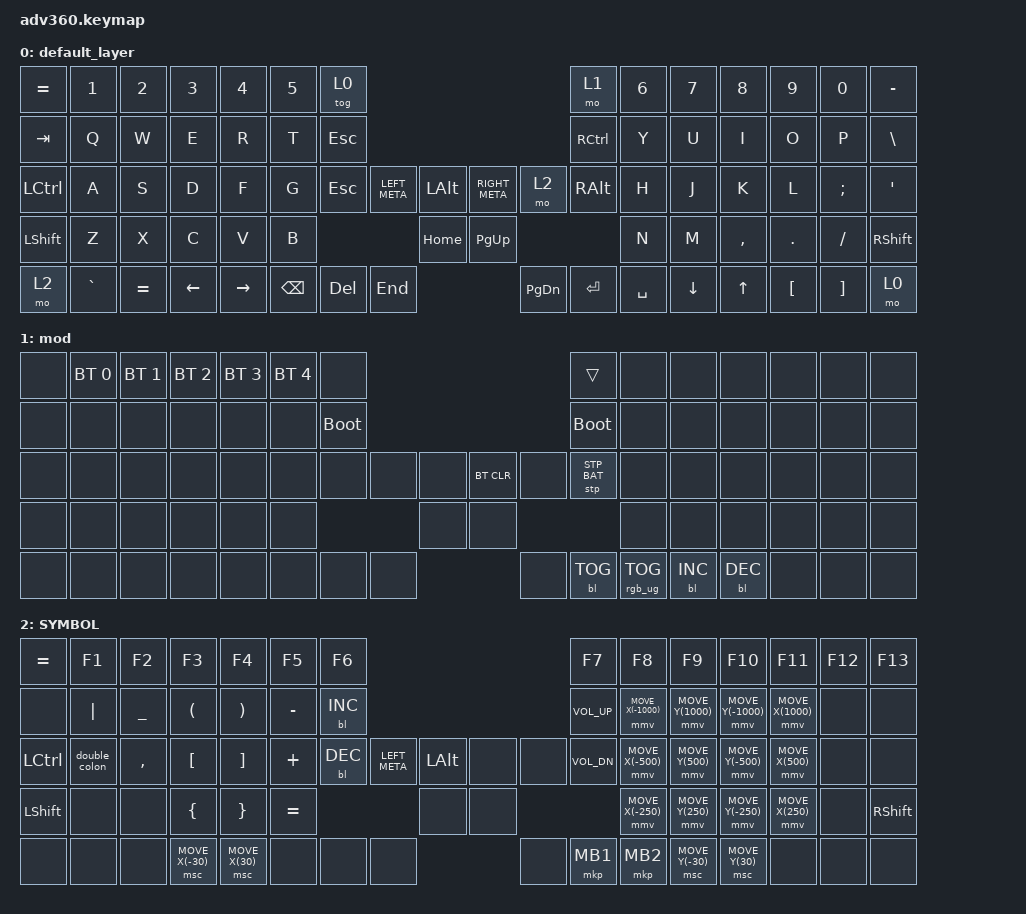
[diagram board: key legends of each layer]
#include <behaviors.dtsi>
#include <behaviors/mouse_move.dtsi>
#include <dt-bindings/zmk/backlight.h>
#include <dt-bindings/zmk/bt.h>
#include <dt-bindings/zmk/keys.h>
#include <dt-bindings/zmk/mouse.h>
#include <dt-bindings/zmk/pointing.h>
#include <dt-bindings/zmk/rgb.h>
#include <dt-bindings/zmk/stp.h>

/* Custom Device-tree */
// ==== MOUSE-KEY <section begins> ====
#define ZMK_MOUSE_DEFAULT_MOVE_VAL 500
#define ZMK_MOUSE_DEFAULT_SCRL_VAL 50

&mmv {
  acceleration-exponent = <1>;      // 1
  time-to-max-speed-ms = <0>;       // 40
  delay-ms = <0>;                   // 0
};

&msc {
  acceleration-exponent = <1>;      // 0
  time-to-max-speed-ms = <0>;       // 40
  delay-ms = <0>;                   // 10
};
// ==== MOUSE-KEY <section ends> =====

/ {
       behaviors {
        double_colon: double_colon {
            compatible = "zmk,behavior-macro";
            #binding-cells = <0>;
            wait-ms = <20>;
            tap-ms = <20>;
            bindings = <&kp COLON &kp COLON>;
        };
    };
};

/ {
    keymap {
        compatible = "zmk,keymap";

        default_layer {
            bindings = <
&kp EQUAL  &kp N1     &kp N2     &kp N3    &kp N4     &kp N5  &tog 0                                                                                 &mo 1       &kp N6  &kp N7          &kp N8        &kp N9    &kp N0    &kp MINUS
&kp TAB    &kp Q      &kp W      &kp E     &kp R      &kp T   &kp ESCAPE                                                                             &kp RCTRL   &kp Y   &kp U           &kp I         &kp O     &kp P     &kp BSLH
&kp LCTRL  &kp A      &kp S      &kp D     &kp F      &kp G   &kp ESCAPE            &kp LEFT_META  &kp LALT    &kp RIGHT_META  &mo 2                 &kp RALT    &kp H   &kp J           &kp K         &kp L     &kp SEMI  &kp SQT
&kp LSHFT  &kp Z      &kp X      &kp C     &kp V      &kp B                                        &kp HOME    &kp PG_UP                                         &kp N   &kp M           &kp COMMA     &kp DOT   &kp FSLH  &kp RSHFT
&mo 2      &kp GRAVE  &kp EQUAL  &kp LEFT  &kp RIGHT                      &kp BSPC  &kp DEL        &kp END     &kp PG_DN       &kp ENTER  &kp SPACE                      &kp DOWN_ARROW  &kp UP_ARROW  &kp LBKT  &kp RBKT  &mo 0
            >;
        };

        mod {
            bindings = <
&none  &bt BT_SEL 0  &bt BT_SEL 1  &bt BT_SEL 2  &bt BT_SEL 3  &bt BT_SEL 4  &none                                                                        &trans       &none  &none       &none       &none  &none  &none
&none  &none         &none         &none         &none         &none         &bootloader                                                                  &bootloader  &none  &none       &none       &none  &none  &none
&none  &none         &none         &none         &none         &none         &none               &none  &none    &bt BT_CLR  &none                        &stp STP_BAT &none  &none       &none       &none  &none  &none
&none  &none         &none         &none         &none         &none                                    &none    &none                                                 &none  &none       &none       &none  &none  &none
&none  &none         &none         &none         &none                                    &none  &none  &none    &none       &bl BL_TOG  &rgb_ug RGB_TOG                      &bl BL_INC  &bl BL_DEC  &none  &none  &none
            >;
        };

        SYMBOL {
            bindings = <
&kp EQUAL       &kp F1         &kp F2          &kp F3                &kp F4                 &kp F5     &kp F6                                                                   &kp F7        &kp F8              &kp F9             &kp F10             &kp F11               &kp F12  &kp F13
&none           &kp PIPE       &kp UNDERSCORE  &kp LEFT_PARENTHESIS  &kp RIGHT_PARENTHESIS  &kp MINUS  &bl BL_INC                                                               &kp C_VOL_UP  &mmv MOVE_X(-1000)  &mmv MOVE_Y(1000)  &mmv MOVE_Y(-1000)  &mmv MOVE_X(1000)     &none    &none
&kp LCTRL       &double_colon  &kp COMMA       &kp LEFT_BRACKET      &kp RIGHT_BRACKET      &kp PLUS   &bl BL_DEC         &kp LEFT_META   &kp LALT  &none   &none               &kp C_VOL_DN  &mmv MOVE_X(-500)   &mmv MOVE_Y(500)   &mmv MOVE_Y(-500)   &mmv MOVE_X(500)      &none    &none
&kp LEFT_SHIFT  &none          &none           &kp LEFT_BRACE        &kp RIGHT_BRACE        &kp EQUAL                                     &none     &none                                     &mmv MOVE_X(-250)   &mmv MOVE_Y(250)   &mmv MOVE_Y(-250)   &mmv MOVE_X(250)      &none    &kp RIGHT_SHIFT
&none           &none          &none           &msc MOVE_X(-30)      &msc MOVE_X(30)                              &none   &none           &none     &none   &mkp MB1   &mkp MB2                                   &msc MOVE_Y(-30)   &msc MOVE_Y(30)     &none                 &none    &none
            >;
        };
    };
};
